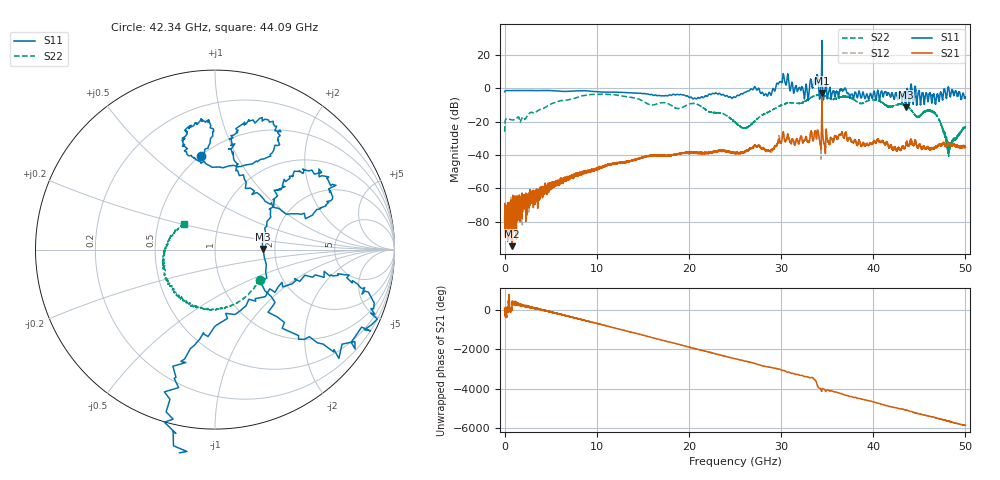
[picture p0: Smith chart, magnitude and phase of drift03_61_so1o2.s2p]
!Created with skrf (http://scikit-rf.org).
# Hz S RI R 50.0
!freq ReS11 ImS11 ReS21 ImS21 ReS12 ImS12 ReS22 ImS22
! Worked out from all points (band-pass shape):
!   10000 points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, 5.3 MHz to 50 GHz, reference 50 ohm
!   highest |S21| = -2.78 dB at 34.43 GHz (marker M1); lowest = -94.6 dB at 835.3 MHz (marker M2)
!   |S21| within 3 dB of the highest: 34.4275 GHz to 34.43407 GHz (6.563 MHz wide, 0.0191 % of centre)
!   lowest |S11| = -11.5 dB at 43.52 GHz (marker M3), VSWR 1.72, Z = 86.2 + j0.569 ohm
!   |S11| at or under -10 dB: 43.4901 GHz to 43.54704 GHz (56.94 MHz wide, 0.131 % of centre); 43.55404 GHz to 43.55539 GHz (1.351 MHz wide, 0.0031 % of centre); 44.70846 GHz to 44.71087 GHz (2.405 MHz wide, 0.00538 % of centre)
!   |S22| runs from -40.8 to -3.6 dB; largest |S21 - S12| = 0.22
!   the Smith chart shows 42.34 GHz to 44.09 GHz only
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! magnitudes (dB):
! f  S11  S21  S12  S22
! 5.3 MHz  -2.1  -79.4  -75.0  -26.1
! 835.3 MHz  -1.4  -94.6  -74.8  -19.0
! 3.045 GHz  -1.4  -63.1  -67.0  -14.6
! 8.34 GHz  -1.5  -50.4  -50.8  -4.7
! 16.67 GHz  -4.4  -40.4  -40.2  -9.2
! 20.74 GHz  -6.3  -38.5  -38.5  -9.3
! 25.01 GHz  -5.5  -38.8  -39.1  -20.4
! 26.21 GHz  -2.3  -37.6  -37.4  -23.7
! 27.37 GHz  -1.1  -34.9  -34.8  -18.6
! 28.72 GHz  -2.5  -37.5  -37.5  -14.1
! 30.14 GHz  4.4  -29.4  -29.6  -9.9
! 32.74 GHz  2.0  -29.5  -29.3  -7.4
! 33.34 GHz  2.5  -27.5  -27.9  -5.3
! 33.82 GHz  4.0  -29.1  -29.5  -4.3
! 34.43 GHz  28.6  -2.8  -4.8  -4.0
! 36.48 GHz  -0.6  -28.0  -28.0  -5.4
! 41.67 GHz  -2.9  -35.5  -35.5  -10.9
! 43.52 GHz  -11.5  -34.1  -34.5  -10.4
! 44.78 GHz  -7.2  -35.6  -35.0  -17.3
! 46.67 GHz  -5.4  -35.3  -35.7  -14.8
! 48.22 GHz  -0.5  -33.4  -33.0  -36.5
! 50 GHz  -5.2  -35.4  -34.8  -23.3
